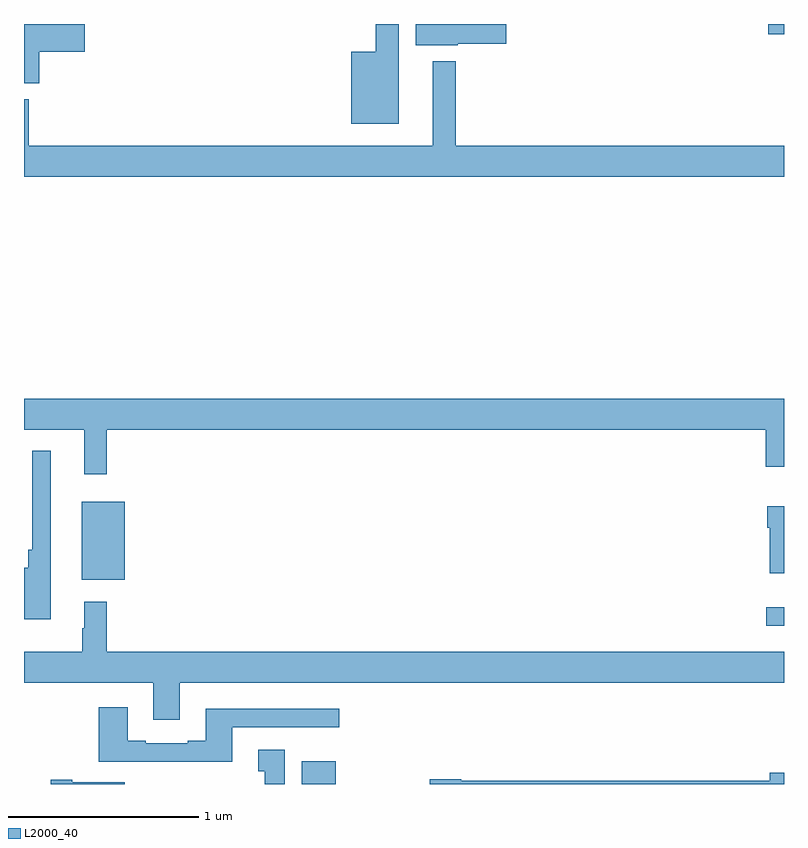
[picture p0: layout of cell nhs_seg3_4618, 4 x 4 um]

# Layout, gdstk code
import gdstk
lib = gdstk.Library(unit=1e-6, precision=1e-09)
def R(c, l, rs):  # rectangles x0, y0, x1, y1
    for r in rs: c.add(gdstk.rectangle(r[:2], r[2:], *l))
def P(c, l, *ps):  # polygons
    for p in ps: c.add(gdstk.Polygon(p, *l))
L2000_40 = (2000, 40)

nhs_seg3_4618 = lib.new_cell('nhs_seg3_4618')
R(nhs_seg3_4618, L2000_40, [(360.461,684.4,360.64,684.52), (362.907,685.232,363,685.329), (359.303,685.475,359.53,685.885), (362.916,688.346,363,688.4)])
P(nhs_seg3_4618, L2000_40, [(361.284,688.295),(361.537,688.295),(361.537,688.4),(361.061,688.4),(361.061,688.289),(361.284,688.289)],
  [(359.081,688.253),(359.32,688.253),(359.32,688.4),(359,688.4),(359,688.088),(359.081,688.088)],
  [(360.973,688.4),(360.852,688.4),(360.852,688.255),(360.722,688.255),(360.722,687.875),(360.973,687.875)],
  [(363,687.76),(361.273,687.76),(361.273,688.204),(361.151,688.204),(361.151,687.76),(359.024,687.76),(359.024,688.003),(359,688.003),(359,687.596),(363,687.596)],
  [(359.435,686.264),(362.903,686.264),(362.903,686.07),(363,686.07),(363,686.428),(359,686.428),(359,686.264),(359.318,686.264),(359.318,686.031),(359.435,686.031)],
  [(359.14,686.155),(359.043,686.155),(359.043,685.633),(359.023,685.633),(359.023,685.537),(359,685.537),(359,685.268),(359.14,685.268)],
  [(363,685.861),(362.912,685.861),(362.912,685.748),(362.924,685.748),(362.924,685.508),(363,685.508)],
  [(359.821,684.932),(363,684.932),(363,685.096),(359.435,685.096),(359.435,685.36),(359.318,685.36),(359.318,685.22),(359.307,685.22),(359.307,685.096),(359,685.096),(359,684.932),(359.681,684.932),(359.681,684.738),(359.821,684.738)],
  [(360.097,684.699),(360.658,684.699),(360.658,684.796),(359.957,684.796),(359.957,684.628),(359.861,684.628),(359.861,684.615),(359.641,684.615),(359.641,684.628),(359.545,684.628),(359.545,684.805),(359.393,684.805),(359.393,684.518),(360.097,684.518)],
  [(360.373,684.58),(360.233,684.58),(360.233,684.467),(360.266,684.467),(360.266,684.4),(360.373,684.4)],
  [(363,684.459),(362.924,684.459),(362.924,684.416),(361.302,684.416),(361.302,684.424),(361.136,684.424),(361.136,684.4),(363,684.4)],
  [(359.53,684.409),(359.254,684.409),(359.254,684.422),(359.142,684.422),(359.142,684.4),(359.53,684.4)])

lib.write_gds('nhs_seg3_4618.gds')
